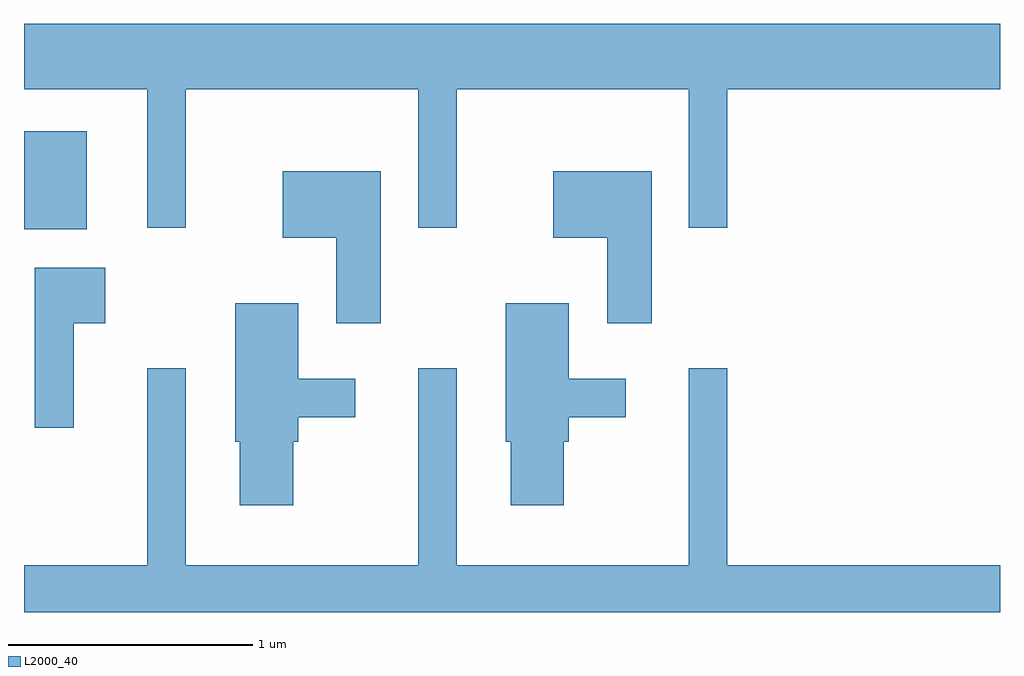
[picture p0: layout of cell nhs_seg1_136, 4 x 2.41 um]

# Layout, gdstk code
import gdstk
lib = gdstk.Library(unit=1e-6, precision=1e-09)
def R(c, l, rs):  # rectangles x0, y0, x1, y1
    for r in rs: c.add(gdstk.rectangle(r[:2], r[2:], *l))
def P(c, l, *ps):  # polygons
    for p in ps: c.add(gdstk.Polygon(p, *l))
L2000_40 = (2000, 40)

nhs_seg1_136 = lib.new_cell('nhs_seg1_136')
R(nhs_seg1_136, L2000_40, [(189.611,841.281,189.869,841.684)])
P(nhs_seg1_136, L2000_40, [(190.274,841.856),(191.226,841.856),(191.226,841.288),(191.384,841.288),(191.384,841.856),(192.336,841.856),(192.336,841.288),(192.494,841.288),(192.494,841.856),(193.611,841.856),(193.611,842.124),(189.611,842.124),(189.611,841.856),(190.116,841.856),(190.116,841.288),(190.274,841.288)],
  [(192.184,841.519),(191.781,841.519),(191.781,841.246),(192.001,841.246),(192.001,840.896),(192.184,840.896)],
  [(191.074,841.519),(190.671,841.519),(190.671,841.246),(190.891,841.246),(190.891,840.896),(191.074,840.896)],
  [(189.814,840.896),(189.944,840.896),(189.944,841.124),(189.656,841.124),(189.656,840.468),(189.814,840.468)],
  [(190.714,840.411),(190.734,840.411),(190.734,840.511),(190.968,840.511),(190.968,840.669),(190.734,840.669),(190.734,840.979),(190.476,840.979),(190.476,840.411),(190.496,840.411),(190.496,840.151),(190.714,840.151)],
  [(191.824,840.411),(191.844,840.411),(191.844,840.511),(192.078,840.511),(192.078,840.669),(191.844,840.669),(191.844,840.979),(191.586,840.979),(191.586,840.411),(191.606,840.411),(191.606,840.151),(191.824,840.151)],
  [(193.611,839.904),(192.494,839.904),(192.494,840.713),(192.336,840.713),(192.336,839.904),(191.384,839.904),(191.384,840.713),(191.226,840.713),(191.226,839.904),(190.274,839.904),(190.274,840.713),(190.116,840.713),(190.116,839.904),(189.611,839.904),(189.611,839.712),(193.611,839.712)])

lib.write_gds('nhs_seg1_136.gds')
